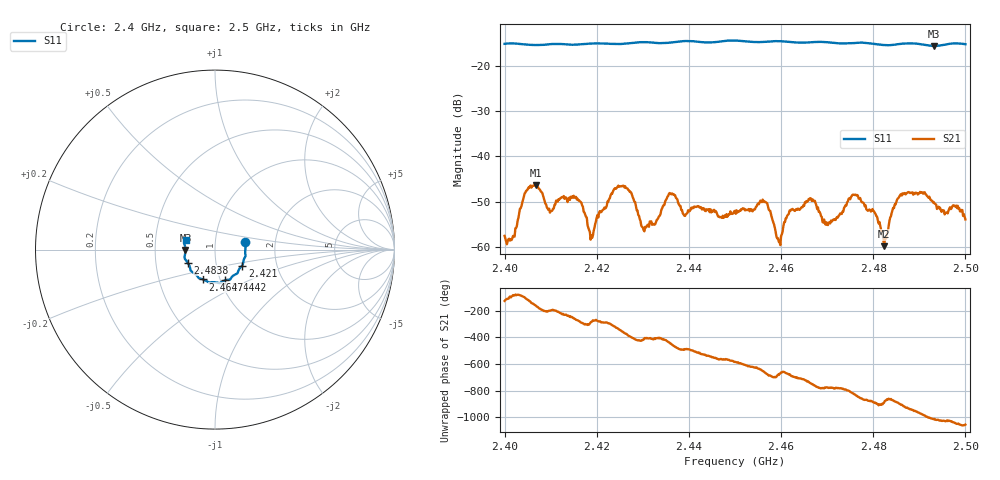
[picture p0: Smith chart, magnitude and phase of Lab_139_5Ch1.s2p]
# Hz S RI R 50
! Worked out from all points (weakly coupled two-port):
!   601 points, 2.4 GHz to 2.5 GHz, reference 50 ohm
!   highest |S21| = -46.41 dB at 2.4068 GHz (marker M1); lowest = -59.8 dB at 2.4823 GHz (marker M2)
!   lowest |S11| = -15.7 dB at 2.4932 GHz (marker M3), VSWR 1.39, Z = 35.9 - j0.119 ohm
!   |S11| at or under -10 dB: start of sweep to end of sweep
!   S12 and S22 are empty: the file has one direction only
!   S11 on the Smith chart (normalised r, x): 2.4 GHz: 1.40, +0.12; 2.421 GHz: 1.33, -0.24; 2.4442 GHz: 1.05, -0.37; 2.4647 GHz: 0.83, -0.28; 2.4838 GHz: 0.73, -0.11; 2.5 GHz: 0.71, +0.08
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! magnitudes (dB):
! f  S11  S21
! 2.4 GHz  -15.2  -57.6
! 2.4068 GHz  -15.5  -46.4
! 2.4167 GHz  -15.3  -50.3
! 2.4188 GHz  -15.1  -57.4
! 2.421 GHz  -15.1  -52.3
! 2.4257 GHz  -15.2  -46.5
! 2.4302 GHz  -14.8  -56.3
! 2.4333 GHz  -15.0  -53.6
! 2.4362 GHz  -14.9  -48.4
! 2.4442 GHz  -14.9  -51.9
! 2.45 GHz  -14.5  -52.1
! 2.4565 GHz  -14.8  -50.0
! 2.4595 GHz  -14.6  -58.9
! 2.4647 GHz  -14.9  -51.2
! 2.4667 GHz  -14.8  -49.9
! 2.4702 GHz  -14.9  -55.2
! 2.4762 GHz  -15.0  -48.5
! 2.4823 GHz  -15.5  -59.8
! 2.4833 GHz  -15.5  -55.5
! 2.4838 GHz  -15.5  -53.3
! 2.4932 GHz  -15.7  -50.2
! 2.5 GHz  -15.3  -54.0
